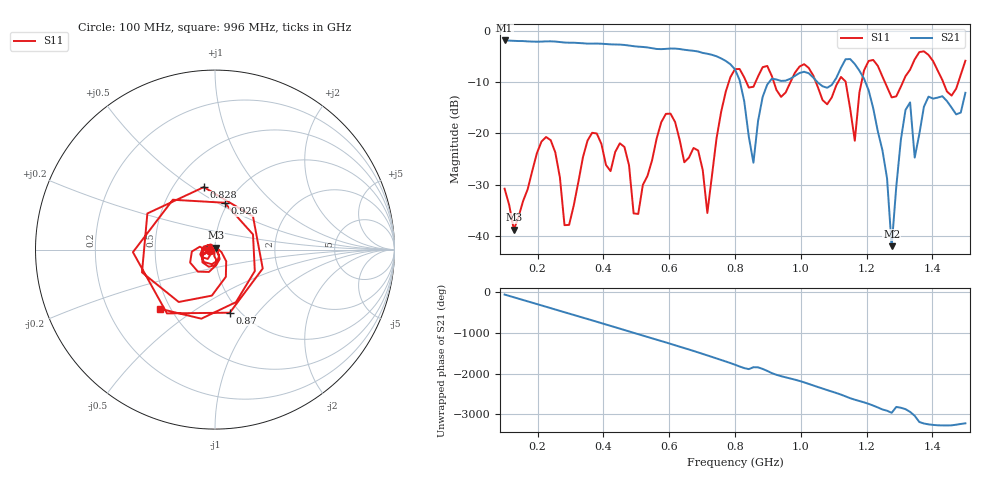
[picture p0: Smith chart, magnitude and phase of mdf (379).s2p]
! NanoVNA-App
! Date: 2025-09-25 15:41:22
! Start: 100MHz Stop: 1,5GHz Points: 101
! S-Parameter data: F S11 S21 S12 S22
# Hz S RI R 50
!  Frequency  S11_Real  S11_Imag  S21_Real  S21_Imag  S12_Real  S12_Imag  S22_Real  S22_Imag
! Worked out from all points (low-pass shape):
!   101 points, 100 MHz to 1.5 GHz, reference 50 ohm
!   highest |S21| = -1.80 dB at 100 MHz (marker M1); lowest = -42.1 dB at 1.276 GHz (marker M2)
!   |S21| within 3 dB of the highest: start of sweep to 739.2 MHz
!   lowest |S11| = -38.8 dB at 128 MHz (marker M3), VSWR 1.02, Z = 50.4 + j1.09 ohm
!   |S11| at or under -10 dB: start of sweep to 781 MHz; 918.3 MHz to 968.2 MHz (49.94 MHz wide, 5.29 % of centre); 1.046 GHz to 1.113 GHz (66.73 MHz wide, 6.18 % of centre) (the widest 3 of 7)
!   S12 and S22 are empty: the file has one direction only
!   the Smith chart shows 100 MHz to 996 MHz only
!   S11 on the Smith chart (normalised r, x): 100 MHz: 0.94, -0.01; 828 MHz: 0.70, +0.56; 870 MHz: 0.90, -0.73; 926 MHz: 0.96, +0.54; 996 MHz: 0.44, -0.36
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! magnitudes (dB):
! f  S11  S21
! 100 MHz  -30.8  -1.8
! 128 MHz  -38.8  -1.9
! 212 MHz  -21.6  -2.0
! 282 MHz  -37.9  -2.2
! 338 MHz  -24.7  -2.4
! 464 MHz  -22.6  -2.7
! 506 MHz  -35.7  -3.0
! 576 MHz  -17.8  -3.5
! 716 MHz  -35.6  -4.4
! 800 MHz  -7.4  -7.5
! 828 MHz  -9.0  -13.7
! 856 MHz  -10.9  -25.7
! 870 MHz  -8.8  -17.6
! 926 MHz  -11.5  -9.4
! 996 MHz  -6.9  -8.2
! 1.038 GHz  -8.7  -9.1
! 1.164 GHz  -21.4  -6.4
! 1.192 GHz  -7.7  -9.3
! 1.276 GHz  -12.9  -42.1
! 1.318 GHz  -8.8  -15.4
! 1.346 GHz  -5.5  -24.7
! 1.5 GHz  -5.8  -12.0
